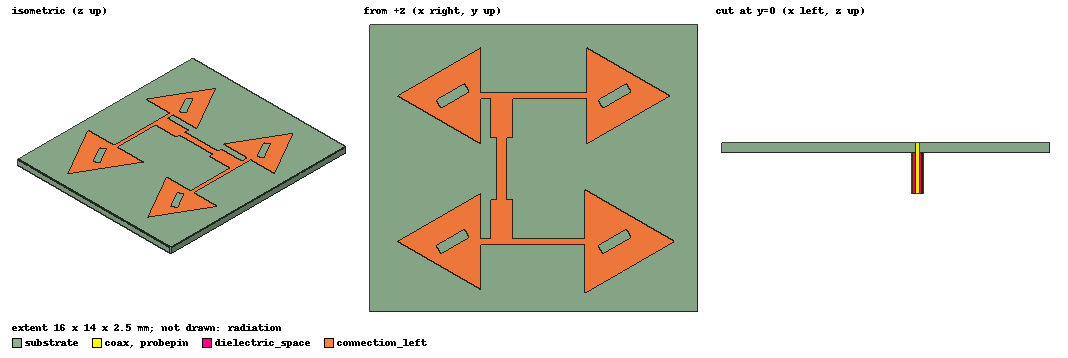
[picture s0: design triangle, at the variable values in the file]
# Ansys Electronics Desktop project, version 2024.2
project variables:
  $delta = 0.3mm
  $delta2 = -1.1mm
  $L_slot = 1.6mm
  $W_slot = 0.47mm
  $angle = 30deg
  $delta3 = 2mm
  $delta4 = 1mm
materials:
  vacuum: permittivity=1
  FR4_epoxy: permittivity=4.4 dielectric_loss_tangent=0.02
  Arlon DiClad 880 (tm): permittivity=2.2 dielectric_loss_tangent=0.0009
  pec: conductivity=1e+30
  probefill: permittivity=1.9
  air: permittivity=1.0006 permeability=1.0000004

design triangle (HFSS, HFSS Modal Network, model units mm)
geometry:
  base = rectangle(corner=(-(18mm-$delta3)/2, -(15mm-$delta4)/2, 0mm), x_size=18mm-$delta3, y_size=15mm-$delta4)
  substrate [Arlon DiClad 880 (tm)] = box(corner=(-(18mm-$delta3)/2, -(15mm-$delta4)/2, 0mm), size=(18mm-$delta3, 15mm-$delta4, 0.5mm))
  GP_cut = circle(normal=Z, centre=(-1.85mm+$delta, 0mm, 0mm), radius=0.25mm)
  base.subtract(GP_cut)
  substrate_cut = cylinder(axis=Z, base_centre=(-1.85mm+$delta, 0mm, 0mm), radius=0.11mm, height=0.5mm)
  substrate.subtract(substrate_cut)
  coax [pec] = cylinder(axis=Z, base_centre=(-1.85mm+$delta, 0mm, -2mm), radius=0.29mm, height=2mm)
  coax_inner = cylinder(axis=Z, base_centre=(-1.85mm+$delta, 0mm, -2mm), radius=0.25mm, height=2mm)
  coax.subtract(coax_inner)
  dielectric_space [probefill] = cylinder(axis=Z, base_centre=(-1.85mm+$delta, 0mm, -2mm), radius=0.21mm, height=2mm)
  probfill_cut = cylinder(axis=Z, base_centre=(-1.85mm+$delta, 0mm, -2mm), radius=0.11mm, height=2mm)
  dielectric_space.subtract(probfill_cut)
  probepin [pec] = cylinder(axis=Z, base_centre=(-1.85mm+$delta, 0mm, -2mm), radius=0.11mm, height=2.5mm)
  radiation [air] = box(corner=(-10mm, -10mm, -10mm), size=(20mm, 20mm, 20mm))
  port = circle(normal=Z, centre=(-1.85mm+$delta, 0mm, -2mm), radius=0.25mm)
  lobe_right = rectangle(corner=(-2.4mm+$delta, 1.5mm, 0.5mm), x_size=1.1mm, y_size=1.9mm)
  lobe_left = rectangle(corner=(-2.4mm+$delta, -3.4mm, 0.5mm), x_size=1.1mm, y_size=1.9mm)
  connection_right = rectangle(corner=(-3.45mm-1.6mm, 3.4mm, 0.5mm), x_size=(6.9+3.2) mm, y_size=0.3mm)
  connection_mid = rectangle(corner=(-2.1mm+$delta, -3.4mm, 0.5mm), x_size=0.5mm, y_size=6.8mm)
  connection_left = rectangle(corner=(-3.45mm-1.6mm, -3.7mm, 0.5mm), x_size=(6.9+3.2) mm, y_size=0.3mm)
  patch_top_left = regular_polygon(axis=Z, centre=(-5.05mm-$delta2, -3.55mm, 0.5mm), first_corner=(-7.86mm-$delta2+0.115mm, -3.55mm, 0.5mm), sides=3)
  patch_top_right = regular_polygon(axis=Z, centre=(-5.05mm-$delta2, 3.55mm, 0.5mm), first_corner=(-7.86mm-$delta2 +0.115mm, 3.55mm, 0.5mm), sides=3)
  patch_bottom_left = regular_polygon(axis=Z, centre=(5.05mm+$delta2, -3.55mm, 0.5mm), first_corner=(7.86mm+$delta2+0.115mm, -3.55mm, 0.5mm), sides=3)
  patch_bottom_right = regular_polygon(axis=Z, centre=(5.05mm+$delta2, 3.55mm, 0.5mm), first_corner=(7.86mm+$delta2-0.115mm, 3.55mm, 0.5mm), sides=3)
  connection_left.unite(connection_mid, connection_right, lobe_left, lobe_right, patch_bottom_left, patch_bottom_right, patch_top_left, patch_top_right)
  coordinate_system top_left = origin=(-5.05mm-$delta2, -3.55mm, 0mm) x=(1mm, 0mm, 0mm) y=(0mm, 1mm, 0mm)
  coordinate_system top_right = origin=(-5.05mm-$delta2, 3.55mm, 0mm) x=(1mm, 0mm, 0mm) y=(0mm, 1mm, 0mm)
  coordinate_system bottom_left = origin=(5.05mm+$delta2, -3.55mm, 0mm) x=(1mm, 0mm, 0mm) y=(0mm, 1mm, 0mm)
  coordinate_system bottom_right = origin=(5.05mm+$delta2, 3.55mm, 0mm) x=(1mm, 0mm, 0mm) y=(0mm, 1mm, 0mm)
  slot_top_left = rectangle(corner=(-$L_slot/2, -$W_slot/2, 0.5mm), x_size=$L_slot, y_size=$W_slot) in top_left
  slot_top_left.rotate(axis=Z, angle=$angle) in top_left
  slot_top_right = rectangle(corner=(-$L_slot/2, -$W_slot/2, 0.5mm), x_size=$L_slot, y_size=$W_slot) in top_right
  slot_top_right.rotate(axis=Z, angle=$angle) in top_right
  slot_bottom_left = rectangle(corner=(-$L_slot/2, -$W_slot/2, 0.5mm), x_size=$L_slot, y_size=$W_slot) in bottom_left
  slot_bottom_left.rotate(axis=Z, angle=$angle) in bottom_left
  slot_bottom_right = rectangle(corner=(-$L_slot/2, -$W_slot/2, 0.5mm), x_size=$L_slot, y_size=$W_slot) in bottom_right
  slot_bottom_right.rotate(axis=Z, angle=$angle) in bottom_right
  connection_left.subtract(slot_bottom_left, slot_bottom_right, slot_top_left, slot_top_right)
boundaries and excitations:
  PerfE1: Perfect E Objects=base
  Rad1: Radiation Objects=radiation
  PerfE2: Perfect E Objects=connection_left
  1: Lumped Port Objects=port LumpedPortType=Modal Modes{Mode1{IntLine{(-1.55, 0, -2) -> (-1.55, 0.25, -2)} CharImp=Zpi}} Impedance=50ohm
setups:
  Setup1: HfssDriven Frequency=24GHz MaxDeltaS=0.02 MaximumPasses=6 MinimumPasses=1 MinimumConvergedPasses=1 PercentRefinement=30 BasisOrder=1 PortAccuracy=2 DrivenSolverType="Direct Solver"
    sweep Sweep: 20GHz to 28GHz, 301 points; Type=Fast SaveFields
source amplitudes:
  1:1: 1V 0deg
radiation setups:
  Infinite Sphere1: Infinite Sphere Theta=0deg..360deg step 2deg Phi=0deg..360deg step 2deg
  Infinite Sphere2: Infinite Sphere Theta=0deg..360deg step 2deg Phi=0deg..90deg step 90deg
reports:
  S Parameter Plot 1: dB(S(1,1)) vs Freq on Setup1 : Sweep
  Gain Plot 1: dB(GainTotal) vs Theta on Setup1 : Sweep, Infinite Sphere2 [Phi=all Freq=24GHz]
  Gain Plot 2: dB(GainTotal) vs Phi, Theta on Setup1 : Sweep, Infinite Sphere1 [Freq=24GHz]
